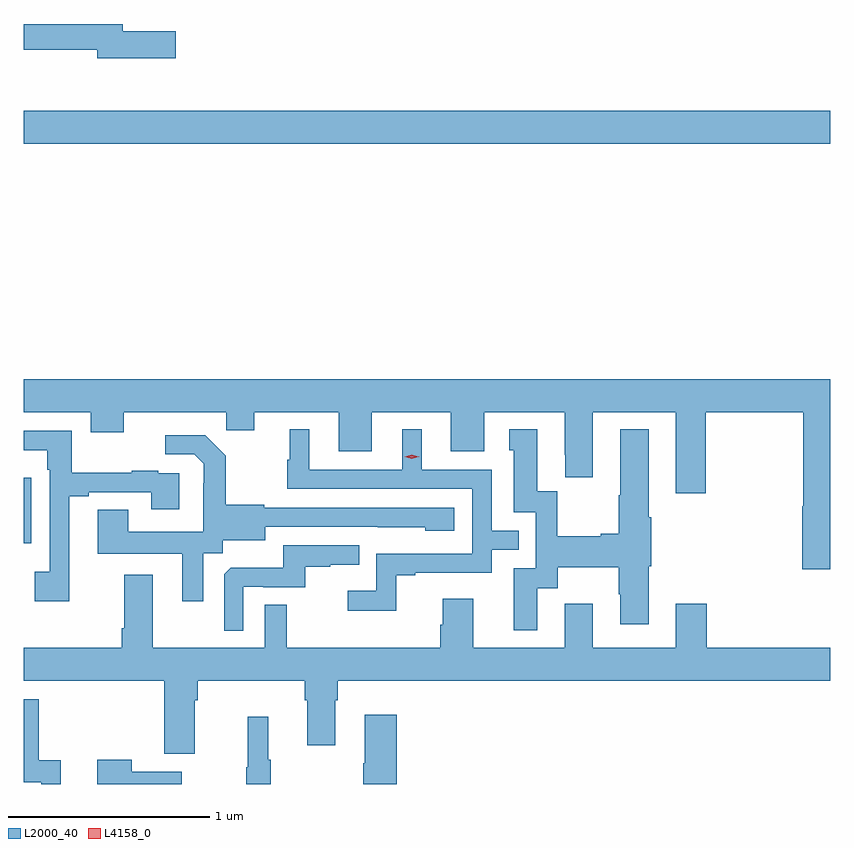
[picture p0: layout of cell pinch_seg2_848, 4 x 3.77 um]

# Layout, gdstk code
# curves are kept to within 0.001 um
import gdstk
lib = gdstk.Library(unit=1e-6, precision=1e-09)
def R(c, l, rs):  # rectangles x0, y0, x1, y1
    for r in rs: c.add(gdstk.rectangle(r[:2], r[2:], *l))
def P(c, l, *ps):  # polygons
    for p in ps: c.add(gdstk.Polygon(p, *l))
L2000_40 = (2000, 40)
L4158_0 = (4158, 0)

pinch_seg2_848 = lib.new_cell('pinch_seg2_848')
R(pinch_seg2_848, L2000_40, [(589.888,617.682,589.926,618.007), (589.888,619.664,593.888,619.828)])
P(pinch_seg2_848, L2000_40, [(590.641,620.222),(590.38,620.222),(590.38,620.258),(589.888,620.258),(589.888,620.13),(590.252,620.13),(590.252,620.087),(590.641,620.087)],
  [(593.888,618.496),(589.888,618.496),(589.888,618.332),(590.219,618.332),(590.219,618.233),(590.383,618.233),(590.383,618.332),(590.893,618.332),(590.893,618.242),(591.031,618.242),(591.031,618.332),(591.449,618.332),(591.449,618.138),(591.613,618.138),(591.613,618.332),(592.007,618.332),(592.007,618.138),(592.171,618.138),(592.171,618.332),(592.571,618.332),(592.571,618.121),(592.574,618.121),(592.574,618.009),(592.711,618.009),(592.711,618.332),(593.123,618.332),(593.123,617.931),(593.271,617.931),(593.271,618.332),(593.755,618.332),(593.755,617.865),(593.75,617.865),(593.75,617.553),(593.888,617.553)],
  [(592.435,617.458),(592.537,617.458),(592.537,617.564),(592.84,617.564),(592.84,617.43),(592.847,617.43),(592.847,617.28),(592.987,617.28),(592.987,617.568),(593,617.568),(593,617.812),(592.987,617.812),(592.987,618.247),(592.847,618.247),(592.847,617.921),(592.84,617.921),(592.84,617.729),(592.751,617.729),(592.751,617.716),(592.533,617.716),(592.533,617.939),(592.435,617.939),(592.435,618.247),(592.295,618.247),(592.295,618.144),(592.319,618.144),(592.319,617.835),(592.428,617.835),(592.428,617.559),(592.319,617.559),(592.319,617.25),(592.435,617.25)],
  [(591.735,617.523),(591.829,617.523),(591.829,617.535),(592.209,617.535),(592.209,617.649),(592.343,617.649),(592.343,617.745),(592.209,617.745),(592.209,618.048),(591.862,618.048),(591.862,618.247),(591.764,618.247),(591.764,618.048),(591.304,618.048),(591.304,618.247),(591.206,618.247),(591.206,618.096),(591.195,618.096),(591.195,617.952),(592.113,617.952),(592.113,617.631),(591.636,617.631),(591.636,617.446),(591.495,617.446),(591.495,617.348),(591.735,617.348)],
  [(590.113,617.916),(590.209,617.916),(590.209,617.934),(590.519,617.934),(590.519,617.85),(590.659,617.85),(590.659,618.03),(590.555,618.03),(590.555,618.043),(590.423,618.043),(590.423,618.032),(590.125,618.032),(590.125,618.24),(589.888,618.24),(589.888,618.143),(590.004,618.143),(590.004,618.047),(590.016,618.047),(590.016,617.542),(589.941,617.542),(589.941,617.394),(590.113,617.394)],
  [(590.779,617.632),(590.874,617.632),(590.874,617.696),(591.085,617.696),(591.085,617.763),(591.879,617.762),(591.879,617.744),(592.024,617.744),(592.024,617.859),(591.081,617.859),(591.081,617.872),(590.889,617.872),(590.889,618.117),(590.789,618.217),(590.589,618.217),(590.589,618.123),(590.733,618.123),(590.78,618.076),(590.78,617.981),(590.778,617.981),(590.778,617.74),(590.407,617.74),(590.407,617.849),(590.255,617.849),(590.255,617.63),(590.675,617.63),(590.675,617.394),(590.779,617.394)],
  [(590.976,617.466),(591.076,617.466),(591.076,617.463),(591.284,617.463),(591.284,617.565),(591.407,617.565),(591.407,617.576),(591.551,617.576),(591.551,617.673),(591.174,617.673),(591.174,617.561),(590.915,617.561),(590.883,617.529),(590.883,617.249),(590.976,617.249)],
  [(590.737,616.904),(590.75,616.904),(590.75,617),(591.281,617),(591.281,616.904),(591.293,616.904),(591.293,616.68),(591.433,616.68),(591.433,616.904),(591.446,616.904),(591.446,617),(593.888,617),(593.888,617.164),(593.276,617.164),(593.276,617.383),(593.123,617.383),(593.123,617.164),(592.711,617.164),(592.711,617.383),(592.571,617.383),(592.571,617.164),(592.117,617.164),(592.117,617.407),(591.965,617.407),(591.965,617.277),(591.953,617.277),(591.953,617.164),(591.193,617.164),(591.193,617.378),(591.084,617.378),(591.084,617.164),(590.527,617.164),(590.527,617.527),(590.387,617.527),(590.387,617.26),(590.375,617.26),(590.375,617.164),(589.888,617.164),(589.888,617),(590.585,617),(590.585,616.638),(590.737,616.638)],
  [(590.072,616.606),(589.961,616.606),(589.961,616.908),(589.888,616.908),(589.888,616.497),(589.974,616.497),(589.974,616.488),(590.072,616.488)],
  [(591.737,616.831),(591.578,616.831),(591.578,616.592),(591.571,616.592),(591.571,616.488),(591.737,616.488)],
  [(591.112,616.609),(591.101,616.609),(591.101,616.822),(590.998,616.822),(590.998,616.572),(590.991,616.572),(590.991,616.488),(591.112,616.488)],
  [(590.671,616.549),(590.423,616.549),(590.423,616.609),(590.252,616.609),(590.252,616.488),(590.671,616.488)])
P(pinch_seg2_848, L4158_0, [(591.813,618.101),(591.778,618.111),(591.777,618.111),(591.778,618.111),(591.813,618.121),(591.848,618.111),(591.849,618.111),(591.848,618.111)])

lib.write_gds('pinch_seg2_848.gds')
